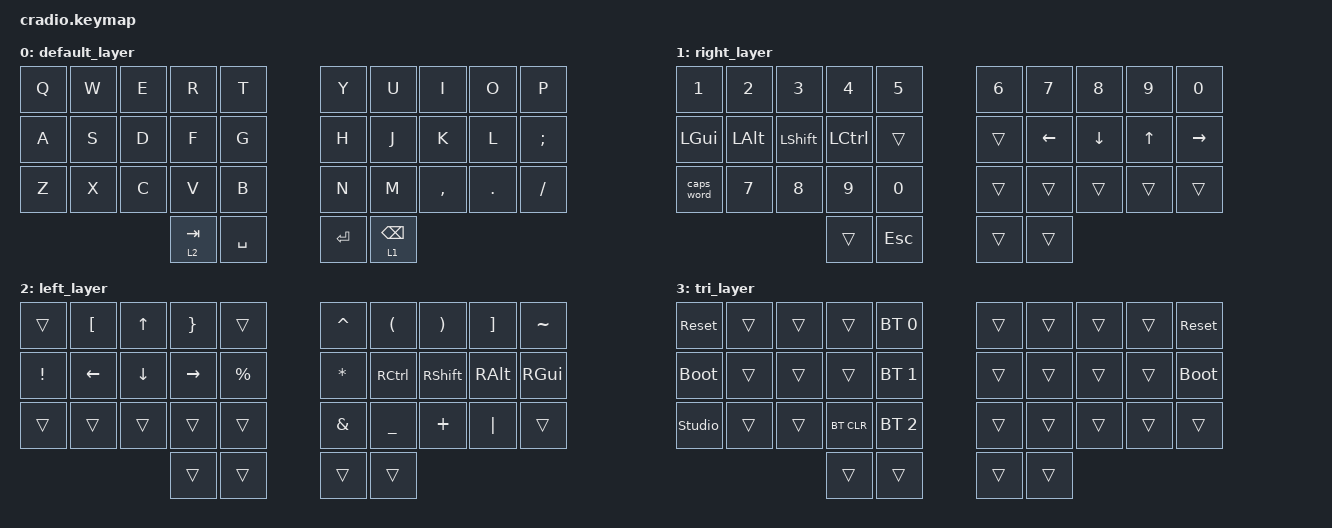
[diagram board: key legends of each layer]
// Copyright (c) 2022 The ZMK Contributors
// SPDX-License-Identifier: MIT

#include <behaviors.dtsi>
#include <dt-bindings/zmk/keys.h>
#include <dt-bindings/zmk/bt.h>

// Home row mods macro
// #define HRML(k1,k2,k3,k4) &ht LSHFT k1  &ht LALT k2  &ht LCTRL k3  &ht LGUI k4
// #define HRMR(k1,k2,k3,k4) &ht RGUI k1  &ht RCTRL k2  &ht RALT k3  &ht RSHFT k4
// HRML(A,        S,         D,         F)
// HRMR(J,        K,         L,        SQT)

/ {
    behaviors {
        ht: hold_tap {
            compatible = "zmk,behavior-hold-tap";
            #binding-cells = <2>;
            flavor = "tap-preferred";
            tapping-term-ms = <220>;
            quick-tap-ms = <150>;
            require-prior-idle-ms = <100>;
            bindings = <&kp>, <&kp>;
        };

        lt: layer_tap {
            compatible = "zmk,behavior-hold-tap";
            #binding-cells = <2>;
            flavor = "tap-preferred";
            tapping-term-ms = <220>;
            quick-tap-ms = <150>;
            bindings = <&mo>, <&kp>;
            display-name = "Layer-Tap";
        };
    };

    //combos {
    //    compatible = "zmk,combos";
    //    combo_esc {
    //        timeout-ms = <50>;
    //        key-positions = <30 31>;
    //        bindings = <&mo 2>;
    //    };
    //};

    conditional_layers {
        compatible = "zmk,conditional-layers";
        tri_layer {
            if-layers = <1 2>;
            then-layer = <3>;
        };
    };

    keymap {
        compatible = "zmk,keymap";
        default_layer {
            bindings = <
        //╭──────────┬──────────┬──────────┬──────────┬──────────╮   ╭──────────┬──────────┬──────────┬──────────┬──────────╮
        //│  Q       │  W       │  E       │  R       │  T       │   │  Y       │  U       │  I       │  O       │  P       │
            &kp Q      &kp W      &kp E      &kp R      &kp T          &kp Y      &kp U      &kp I      &kp O      &kp P
        //├──────────┼──────────┼──────────┼──────────┼──────────┤   ├──────────┼──────────┼──────────┼──────────┼──────────┤
        //│  A       │  S       │  D       │  F       │  G       │   │  H       │  J       │  K       │  L       │ ; :      │
            &kp A      &kp S      &kp D      &kp F      &kp G          &kp H      &kp J      &kp K      &kp L      &kp SEMI      
        //├──────────┼──────────┼──────────┼──────────┼──────────┤   ├──────────┼──────────┼──────────┼──────────┼──────────┤
        //│  Z       │  X       │  C       │  V       │  B       │   │  N       │  M       │ , <      │ . >      │ / ?      │
            &kp Z      &kp X      &kp C      &kp V      &kp B          &kp N      &kp M      &kp COMMA  &kp DOT    &kp FSLH
        //╰──────────┴──────────┴──────────┼──────────┼──────────┤   ├──────────┼──────────┼──────────┴──────────┴──────────╯
                                            &lt 2 TAB   &kp SPACE      &kp ENTER  &lt 1 BSPC
        //                                 ╰──────────┴──────────╯   ╰──────────┴──────────╯
            >;
        };

        right_layer {
            bindings = <
        //╭──────────┬──────────┬──────────┬──────────┬──────────╮   ╭──────────┬──────────┬──────────┬──────────┬──────────╮
        //│ 1        │  2       │  3       │  4       │  5       │   │  6       │  7       │  8       │  9       │  0       │
            &kp N1     &kp N2     &kp N3     &kp N4     &kp N5         &kp N6     &kp N7     &kp N8     &kp N9     &kp N0
        //├──────────┼──────────┼──────────┼──────────┼──────────┤   ├──────────┼──────────┼──────────┼──────────┼──────────┤
        //│ LGUI     │  LALT    │  LSHFT   │  LCTRL   │          │   │          │ LEFT     │ DOWN     │ UP       │ RIGHT    │
            &kp LGUI   &kp LALT   &kp LSHFT  &kp LCTRL  &trans         &trans     &kp LEFT   &kp DOWN   &kp UP     &kp RIGHT
        //├──────────┼──────────┼──────────┼──────────┼──────────┤   ├──────────┼──────────┼──────────┼──────────┼──────────┤
        //│ CAPS     │  7       │  8       │  9       │  0       │   │          │          │          │          │          │
           &caps_word  &kp N7     &kp N8     &kp N9     &kp N0         &trans     &trans     &trans     &trans     &trans
        //╰──────────┴──────────┴──────────┼──────────┼──────────┤   ├──────────┼──────────┼──────────┴──────────┴──────────╯
                                             &trans     &kp ESC        &trans     &trans
        //                                 ╰──────────┴──────────╯   ╰──────────┴──────────╯
            >;
        };

        left_layer {
            bindings = <
        //╭──────────┬──────────┬──────────┬──────────┬──────────╮   ╭──────────┬──────────┬──────────┬──────────┬──────────╮
        //│          │  [       │  UP      │  }       │          │   │  ^       │  (       │  )       │  ]       │  ~       │
            &trans     &kp LBKT   &kp UP     &kp RBRC   &trans         &kp CARET  &kp LPAR   &kp RPAR   &kp RBKT   &kp TILDE
        //├──────────┼──────────┼──────────┼──────────┼──────────┤   ├──────────┼──────────┼──────────┼──────────┼──────────┤
        //│  !       │  LEFT    │  DOWN    │  RIGHT   │  %       │   │  *       │  RCTRL   │  RSHFT   │  RALT    │  RGUI    │
            &kp EXCL   &kp LEFT   &kp DOWN   &kp RIGHT  &kp PRCNT      &kp ASTRK  &kp RCTRL  &kp RSHFT  &kp RALT   &kp RGUI
        //├──────────┼──────────┼──────────┼──────────┼──────────┤   ├──────────┼──────────┼──────────┼──────────┼──────────┤
        //│          │          │          │          │          │   │  &       │  _       │  +       │  │       │          │
            &trans     &trans     &trans     &trans     &trans         &kp AMPS   &kp UNDER  &kp PLUS   &kp PIPE   &trans
        //╰──────────┴──────────┴──────────┼──────────┼──────────┤   ├──────────┼──────────┼──────────┴──────────┴──────────╯
                                             &trans     &trans         &trans     &trans
        //                                 ╰──────────┴──────────╯   ╰──────────┴──────────╯
            >;
        };

        tri_layer {
            bindings = <
        //╭──────────┬──────────┬──────────┬──────────┬──────────╮   ╭──────────┬──────────┬──────────┬──────────┬──────────╮
        //│ RESET    │          │          │          │PROFILE 0 │   │          │          │          │          │  RESET   │
           &sys_reset  &trans     &trans     &trans    &bt BT_SEL 0    &trans     &trans     &trans     &trans    &sys_reset
        //├──────────┼──────────┼──────────┼──────────┼──────────┤   ├──────────┼──────────┼──────────┼──────────┼──────────┤
        //│BOOTLOADER│          │          │          │PROFILE 1 │   │          │          │          │          │BOOTLOADER│
          &bootloader  &trans     &trans     &trans    &bt BT_SEL 1    &trans     &trans     &trans     &trans    &bootloader
        //├──────────┼──────────┼──────────┼──────────┼──────────┤   ├──────────┼──────────┼──────────┼──────────┼──────────┤
        //│          │          │          │ CLEAR BT │PROFILE 2 │   │          │          │          │          │          │
        &studio_unlock &trans     &trans    &bt BT_CLR &bt BT_SEL 2    &trans     &trans     &trans     &trans     &trans
        //╰──────────┴──────────┴──────────┼──────────┼──────────┤   ├──────────┼──────────┼──────────┴──────────┴──────────╯
                                             &trans     &trans         &trans     &trans
        //                                 ╰──────────┴──────────╯   ╰──────────┴──────────╯
            >;
        };
    };
};
